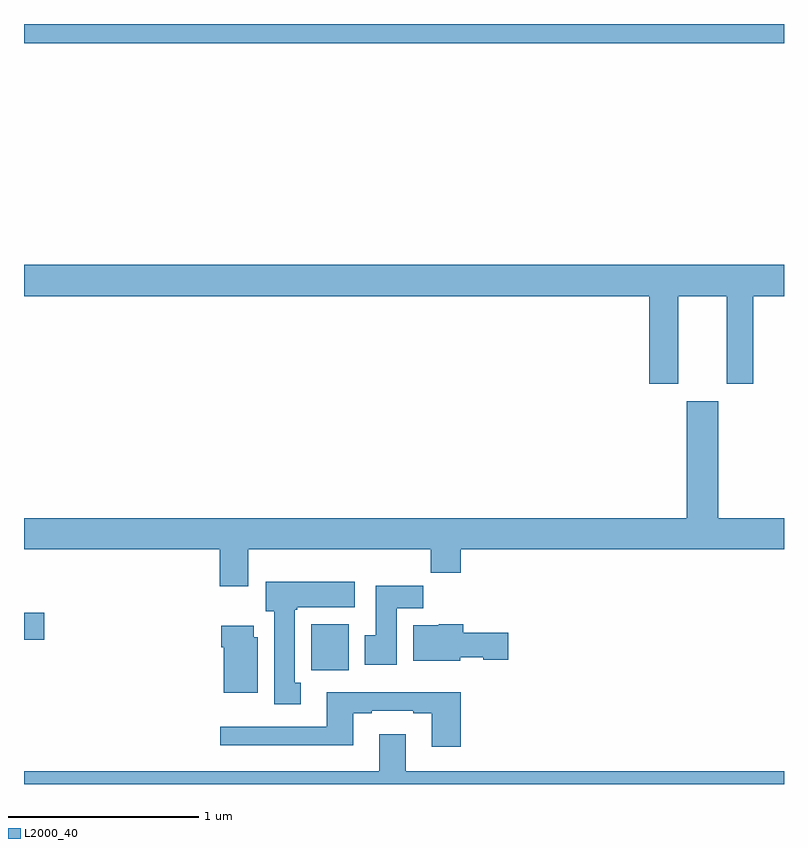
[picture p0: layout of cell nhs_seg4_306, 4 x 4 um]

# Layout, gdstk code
import gdstk
lib = gdstk.Library(unit=1e-6, precision=1e-09)
def R(c, l, rs):  # rectangles x0, y0, x1, y1
    for r in rs: c.add(gdstk.rectangle(r[:2], r[2:], *l))
def P(c, l, *ps):  # polygons
    for p in ps: c.add(gdstk.Polygon(p, *l))
L2000_40 = (2000, 40)

nhs_seg4_306 = lib.new_cell('nhs_seg4_306')
R(nhs_seg4_306, L2000_40, [(126.512,813.5,126.709,813.742), (125,813.659,125.107,813.801), (125,816.8,129,816.9)])
P(nhs_seg4_306, L2000_40, [(128.443,815.468),(128.699,815.468),(128.699,815.007),(128.839,815.007),(128.839,815.468),(129,815.468),(129,815.632),(125,815.632),(125,815.468),(128.291,815.468),(128.291,815.007),(128.443,815.007)],
  [(126.181,814.136),(127.141,814.136),(127.141,814.012),(127.298,814.012),(127.298,814.136),(129,814.136),(129,814.3),(128.653,814.3),(128.653,814.915),(128.489,814.915),(128.489,814.3),(125,814.3),(125,814.136),(126.029,814.136),(126.029,813.942),(126.181,813.942)],
  [(126.457,813.434),(126.424,813.434),(126.424,813.817),(126.438,813.817),(126.438,813.83),(126.742,813.83),(126.742,813.964),(126.272,813.964),(126.272,813.81),(126.317,813.81),(126.317,813.321),(126.457,813.321)],
  [(126.961,813.824),(127.1,813.824),(127.1,813.943),(126.851,813.943),(126.851,813.684),(126.794,813.684),(126.794,813.528),(126.961,813.528)],
  [(127.296,813.566),(127.416,813.566),(127.416,813.554),(127.549,813.554),(127.549,813.696),(127.313,813.696),(127.313,813.742),(127.182,813.742),(127.182,813.736),(127.049,813.736),(127.049,813.548),(127.296,813.548)],
  [(126.229,813.672),(126.208,813.672),(126.208,813.733),(126.038,813.733),(126.038,813.62),(126.05,813.62),(126.05,813.38),(126.229,813.38)],
  [(127.298,813.382),(126.593,813.382),(126.593,813.201),(126.033,813.201),(126.033,813.104),(126.733,813.104),(126.733,813.273),(126.829,813.273),(126.829,813.285),(127.049,813.285),(127.049,813.273),(127.145,813.273),(127.145,813.096),(127.298,813.096)],
  [(129,812.968),(127.009,812.968),(127.009,813.163),(126.869,813.163),(126.869,812.968),(125,812.968),(125,812.9),(129,812.9)])

lib.write_gds('nhs_seg4_306.gds')
